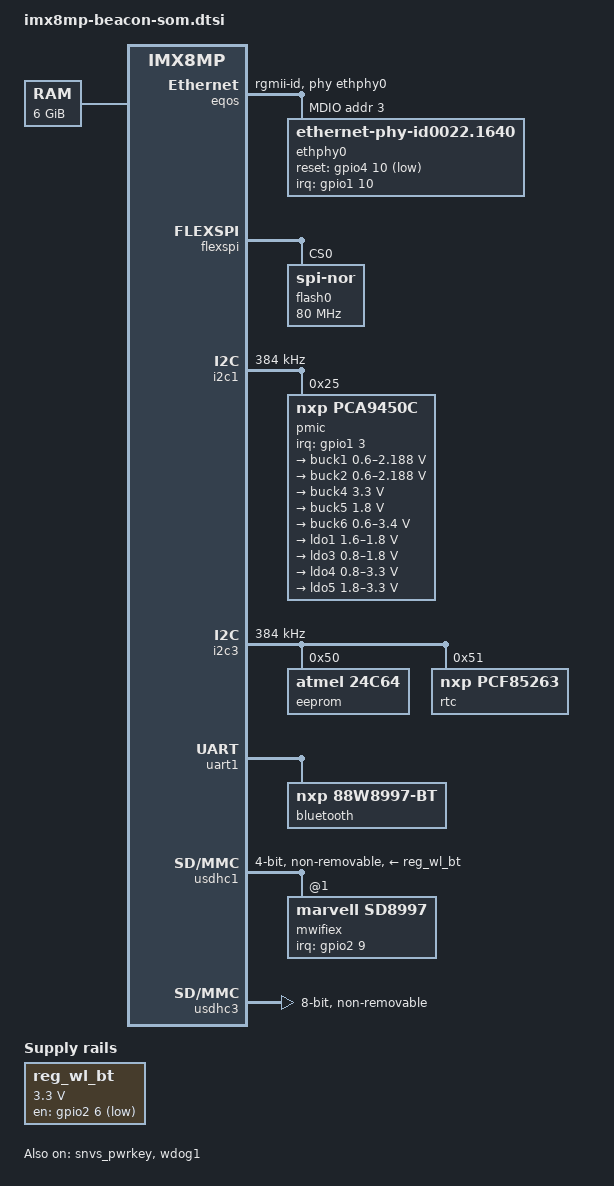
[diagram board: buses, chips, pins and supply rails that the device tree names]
// SPDX-License-Identifier: (GPL-2.0+ OR MIT)
/*
 * Copyright 2023 LogicPD, Inc. dba Beacon EmbeddedWorks
 */

/ {
	aliases {
		rtc0 = &rtc;
		rtc1 = &snvs_rtc;
	};

	memory@40000000 {
		device_type = "memory";
		reg = <0x0 0x40000000 0 0xc0000000>,
		      <0x1 0x00000000 0 0xc0000000>;
	};

	reg_wl_bt: regulator-wifi-bt {
		compatible = "regulator-fixed";
		pinctrl-names = "default";
		pinctrl-0 = <&pinctrl_reg_wl_bt>;
		regulator-name = "wl-bt-pow-dwn";
		regulator-min-microvolt = <3300000>;
		regulator-max-microvolt = <3300000>;
		gpio = <&gpio2 6 GPIO_ACTIVE_LOW>;
		startup-delay-us = <70000>;
		regulator-always-on;
	};
};

&A53_0 {
	cpu-supply = <&buck2>;
};

&A53_1 {
	cpu-supply = <&buck2>;
};

&A53_2 {
	cpu-supply = <&buck2>;
};

&A53_3 {
	cpu-supply = <&buck2>;
};

&eqos {
	pinctrl-names = "default";
	pinctrl-0 = <&pinctrl_eqos>;
	phy-mode = "rgmii-id";
	phy-handle = <&ethphy0>;
	snps,force_thresh_dma_mode;
	snps,mtl-rx-config = <&mtl_rx_setup>;
	snps,mtl-tx-config = <&mtl_tx_setup>;
	status = "okay";

	mdio {
		compatible = "snps,dwmac-mdio";
		#address-cells = <1>;
		#size-cells = <0>;

		ethphy0: ethernet-phy@3 {
			compatible = "ethernet-phy-id0022.1640",
				     "ethernet-phy-ieee802.3-c22";
			reg = <3>;
			reset-gpios = <&gpio4 10 GPIO_ACTIVE_LOW>;
			interrupt-parent = <&gpio1>;
			interrupts = <10 IRQ_TYPE_LEVEL_LOW>;
		};
	};

	mtl_rx_setup: rx-queues-config {
		snps,rx-queues-to-use = <5>;

		queue0 {
			snps,dcb-algorithm;
			snps,priority = <0x1>;
			snps,map-to-dma-channel = <0>;
		};

		queue1 {
			snps,dcb-algorithm;
			snps,priority = <0x2>;
			snps,map-to-dma-channel = <1>;
		};

		queue2 {
			snps,dcb-algorithm;
			snps,priority = <0x4>;
			snps,map-to-dma-channel = <2>;
		};

		queue3 {
			snps,dcb-algorithm;
			snps,priority = <0x8>;
			snps,map-to-dma-channel = <3>;
		};

		queue4 {
			snps,dcb-algorithm;
			snps,priority = <0xf0>;
			snps,map-to-dma-channel = <4>;
		};
	};

	mtl_tx_setup: tx-queues-config {
		snps,tx-queues-to-use = <5>;

		queue0 {
			snps,dcb-algorithm;
			snps,priority = <0x1>;
		};

		queue1 {
			snps,dcb-algorithm;
			snps,priority = <0x2>;
		};

		queue2 {
			snps,dcb-algorithm;
			snps,priority = <0x4>;
		};

		queue3 {
			snps,dcb-algorithm;
			snps,priority = <0x8>;
		};

		queue4 {
			snps,dcb-algorithm;
			snps,priority = <0xf0>;
		};
	};
};

&flexspi {
	pinctrl-names = "default";
	pinctrl-0 = <&pinctrl_flexspi0>;
	status = "okay";

	flash0: flash@0 {
		compatible = "jedec,spi-nor";
		reg = <0>;
		spi-max-frequency = <80000000>;
		spi-tx-bus-width = <1>;
		spi-rx-bus-width = <4>;
	};
};

&i2c1 {
	pinctrl-names = "default";
	pinctrl-0 = <&pinctrl_i2c1>;
	clock-frequency = <384000>;
	status = "okay";

	pmic@25 {
		compatible = "nxp,pca9450c";
		reg = <0x25>;
		pinctrl-names = "default";
		pinctrl-0 = <&pinctrl_pmic>;
		interrupt-parent = <&gpio1>;
		interrupts = <3 IRQ_TYPE_LEVEL_LOW>;

		regulators {
			buck1: BUCK1 {
				regulator-name = "BUCK1";
				regulator-min-microvolt = <600000>;
				regulator-max-microvolt = <2187500>;
				regulator-boot-on;
				regulator-always-on;
				regulator-ramp-delay = <3125>;
			};

			buck2: BUCK2 {
				regulator-name = "BUCK2";
				regulator-min-microvolt = <600000>;
				regulator-max-microvolt = <2187500>;
				regulator-boot-on;
				regulator-always-on;
				regulator-ramp-delay = <3125>;
				nxp,dvs-run-voltage = <950000>;
				nxp,dvs-standby-voltage = <850000>;
			};

			buck4: BUCK4 {
				regulator-name = "BUCK4";
				regulator-min-microvolt = <3300000>;
				regulator-max-microvolt = <3300000>;
				regulator-boot-on;
				regulator-always-on;
			};

			buck5: BUCK5 {
				regulator-name = "BUCK5";
				regulator-min-microvolt = <1800000>;
				regulator-max-microvolt = <1800000>;
				regulator-boot-on;
				regulator-always-on;
			};

			buck6: BUCK6 {
				regulator-name = "BUCK6";
				regulator-min-microvolt = <600000>;
				regulator-max-microvolt = <3400000>;
				regulator-boot-on;
				regulator-always-on;
			};

			ldo1: LDO1 {
				regulator-name = "LDO1";
				regulator-min-microvolt = <1600000>;
				regulator-max-microvolt = <1800000>;
				regulator-boot-on;
				regulator-always-on;
			};

			ldo3: LDO3 {
				regulator-name = "LDO3";
				regulator-min-microvolt = <800000>;
				regulator-max-microvolt = <1800000>;
				regulator-boot-on;
				regulator-always-on;
			};

			ldo4: LDO4 {
				regulator-name = "LDO4";
				regulator-min-microvolt = <800000>;
				regulator-max-microvolt = <3300000>;
				regulator-boot-on;
				regulator-always-on;
			};

			ldo5: LDO5 {
				regulator-name = "LDO5";
				regulator-min-microvolt = <1800000>;
				regulator-max-microvolt = <3300000>;
				regulator-boot-on;
				regulator-always-on;
			};
		};
	};
};

&i2c3 {
	pinctrl-names = "default";
	pinctrl-0 = <&pinctrl_i2c3>;
	clock-frequency = <384000>;
	status = "okay";

	eeprom@50 {
		compatible = "atmel,24c64";
		reg = <0x50>;
		pagesize = <32>;
		read-only;	/* Manufacturing EEPROM programmed at factory */
	};

	rtc: rtc@51 {
		compatible = "nxp,pcf85263";
		reg = <0x51>;
	};
};

&snvs_pwrkey {
	status = "okay";
};

&uart1 {
	pinctrl-names = "default";
	pinctrl-0 = <&pinctrl_uart1>;
	assigned-clocks = <&clk IMX8MP_CLK_UART1>;
	assigned-clock-parents = <&clk IMX8MP_SYS_PLL1_80M>;
	uart-has-rtscts;
	status = "okay";

	bluetooth {
		compatible = "nxp,88w8997-bt";
	};
};

&usdhc1 {
	pinctrl-names = "default", "state_100mhz", "state_200mhz";
	pinctrl-0 = <&pinctrl_usdhc1>;
	pinctrl-1 = <&pinctrl_usdhc1_100mhz>;
	pinctrl-2 = <&pinctrl_usdhc1_200mhz>;
	bus-width = <4>;
	vmmc-supply = <&reg_wl_bt>;
	cap-sd-highspeed;
	sd-uhs-sdr50;
	sd-uhs-sdr104;
	keep-power-in-suspend;
	wakeup-source;
	non-removable;
	cap-power-off-card;
	#address-cells = <1>;
	#size-cells = <0>;
	status = "okay";

	mwifiex: wifi@1 {
		compatible = "marvell,sd8997";
		reg = <1>;
		pinctrl-names = "default";
		pinctrl-0 = <&pinctrl_wlan>;
		interrupt-parent = <&gpio2>;
		interrupts = <9 IRQ_TYPE_LEVEL_LOW>;
	};
};

&usdhc3 {
	pinctrl-names = "default", "state_100mhz", "state_200mhz";
	pinctrl-0 = <&pinctrl_usdhc3>;
	pinctrl-1 = <&pinctrl_usdhc3_100mhz>;
	pinctrl-2 = <&pinctrl_usdhc3_200mhz>;
	bus-width = <8>;
	non-removable;
	status = "okay";
};

&wdog1 {
	pinctrl-names = "default";
	pinctrl-0 = <&pinctrl_wdog>;
	fsl,ext-reset-output;
	status = "okay";
};

&iomuxc {
	pinctrl_eqos: eqosgrp {
		fsl,pins = <
			MX8MP_IOMUXC_ENET_MDC__ENET_QOS_MDC		0x2
			MX8MP_IOMUXC_ENET_MDIO__ENET_QOS_MDIO		0x2
			MX8MP_IOMUXC_ENET_RD0__ENET_QOS_RGMII_RD0	0x90
			MX8MP_IOMUXC_ENET_RD1__ENET_QOS_RGMII_RD1	0x90
			MX8MP_IOMUXC_ENET_RD2__ENET_QOS_RGMII_RD2	0x90
			MX8MP_IOMUXC_ENET_RD3__ENET_QOS_RGMII_RD3	0x90
			MX8MP_IOMUXC_ENET_RXC__CCM_ENET_QOS_CLOCK_GENERATE_RX_CLK	0x90
			MX8MP_IOMUXC_ENET_RX_CTL__ENET_QOS_RGMII_RX_CTL	0x90
			MX8MP_IOMUXC_ENET_TD0__ENET_QOS_RGMII_TD0	0x16
			MX8MP_IOMUXC_ENET_TD1__ENET_QOS_RGMII_TD1	0x16
			MX8MP_IOMUXC_ENET_TD2__ENET_QOS_RGMII_TD2	0x16
			MX8MP_IOMUXC_ENET_TD3__ENET_QOS_RGMII_TD3	0x16
			MX8MP_IOMUXC_ENET_TX_CTL__ENET_QOS_RGMII_TX_CTL	0x16
			MX8MP_IOMUXC_ENET_TXC__CCM_ENET_QOS_CLOCK_GENERATE_TX_CLK	0x16
			MX8MP_IOMUXC_SAI2_RXC__GPIO4_IO22		0x10
			MX8MP_IOMUXC_GPIO1_IO10__GPIO1_IO10	0x10
		>;
	};

	pinctrl_flexspi0: flexspi0grp {
		fsl,pins = <
			MX8MP_IOMUXC_NAND_ALE__FLEXSPI_A_SCLK           0x1c2
			MX8MP_IOMUXC_NAND_CE0_B__FLEXSPI_A_SS0_B        0x82
			MX8MP_IOMUXC_NAND_DATA00__FLEXSPI_A_DATA00      0x82
			MX8MP_IOMUXC_NAND_DATA01__FLEXSPI_A_DATA01      0x82
			MX8MP_IOMUXC_NAND_DATA02__FLEXSPI_A_DATA02      0x82
			MX8MP_IOMUXC_NAND_DATA03__FLEXSPI_A_DATA03      0x82
		>;
	};

	pinctrl_i2c1: i2c1grp {
		fsl,pins = <
			MX8MP_IOMUXC_I2C1_SCL__I2C1_SCL		0x400001c2
			MX8MP_IOMUXC_I2C1_SDA__I2C1_SDA		0x400001c2
		>;
	};

	pinctrl_i2c3: i2c3grp {
		fsl,pins = <
			MX8MP_IOMUXC_I2C3_SCL__I2C3_SCL		0x400001c2
			MX8MP_IOMUXC_I2C3_SDA__I2C3_SDA		0x400001c2
		>;
	};

	pinctrl_pmic: pmicgrp {
		fsl,pins = <
			MX8MP_IOMUXC_GPIO1_IO03__GPIO1_IO03	0x1c0
		>;
	};

	pinctrl_reg_wl_bt: reg-wl-btgrp {
		fsl,pins = <
			MX8MP_IOMUXC_SD1_DATA4__GPIO2_IO06	0x40
		>;
	};

	pinctrl_uart1: uart1grp {
		fsl,pins = <
			MX8MP_IOMUXC_UART1_RXD__UART1_DCE_RX	0x140
			MX8MP_IOMUXC_UART1_TXD__UART1_DCE_TX	0x140
			MX8MP_IOMUXC_UART3_RXD__UART1_DCE_CTS	0x140
			MX8MP_IOMUXC_UART3_TXD__UART1_DCE_RTS	0x140
		>;
	};

	pinctrl_usdhc1: usdhc1grp {
		fsl,pins = <
			MX8MP_IOMUXC_SD1_CLK__USDHC1_CLK	0x190
			MX8MP_IOMUXC_SD1_CMD__USDHC1_CMD	0x1d0
			MX8MP_IOMUXC_SD1_DATA0__USDHC1_DATA0	0x1d0
			MX8MP_IOMUXC_SD1_DATA1__USDHC1_DATA1	0x1d0
			MX8MP_IOMUXC_SD1_DATA2__USDHC1_DATA2	0x1d0
			MX8MP_IOMUXC_SD1_DATA3__USDHC1_DATA3	0x1d0
		>;
	};

	pinctrl_usdhc1_100mhz: usdhc1-100mhzgrp {
		fsl,pins = <
			MX8MP_IOMUXC_SD1_CLK__USDHC1_CLK	0x194
			MX8MP_IOMUXC_SD1_CMD__USDHC1_CMD	0x1d4
			MX8MP_IOMUXC_SD1_DATA0__USDHC1_DATA0	0x1d4
			MX8MP_IOMUXC_SD1_DATA1__USDHC1_DATA1	0x1d4
			MX8MP_IOMUXC_SD1_DATA2__USDHC1_DATA2	0x1d4
			MX8MP_IOMUXC_SD1_DATA3__USDHC1_DATA3	0x1d4
		>;
	};

	pinctrl_usdhc1_200mhz: usdhc1-200mhzgrp {
		fsl,pins = <
			MX8MP_IOMUXC_SD1_CLK__USDHC1_CLK	0x196
			MX8MP_IOMUXC_SD1_CMD__USDHC1_CMD	0x1d6
			MX8MP_IOMUXC_SD1_DATA0__USDHC1_DATA0	0x1d6
			MX8MP_IOMUXC_SD1_DATA1__USDHC1_DATA1	0x1d6
			MX8MP_IOMUXC_SD1_DATA2__USDHC1_DATA2	0x1d6
			MX8MP_IOMUXC_SD1_DATA3__USDHC1_DATA3	0x1d6
		>;
	};

	pinctrl_usdhc3: usdhc3grp {
		fsl,pins = <
			MX8MP_IOMUXC_NAND_WE_B__USDHC3_CLK	0x190
			MX8MP_IOMUXC_NAND_WP_B__USDHC3_CMD	0x1d0
			MX8MP_IOMUXC_NAND_DATA04__USDHC3_DATA0	0x1d0
			MX8MP_IOMUXC_NAND_DATA05__USDHC3_DATA1	0x1d0
			MX8MP_IOMUXC_NAND_DATA06__USDHC3_DATA2	0x1d0
			MX8MP_IOMUXC_NAND_DATA07__USDHC3_DATA3	0x1d0
			MX8MP_IOMUXC_NAND_RE_B__USDHC3_DATA4	0x1d0
			MX8MP_IOMUXC_NAND_CE2_B__USDHC3_DATA5	0x1d0
			MX8MP_IOMUXC_NAND_CE3_B__USDHC3_DATA6	0x1d0
			MX8MP_IOMUXC_NAND_CLE__USDHC3_DATA7	0x1d0
			MX8MP_IOMUXC_NAND_CE1_B__USDHC3_STROBE	0x190
		>;
	};

	pinctrl_usdhc3_100mhz: usdhc3-100mhzgrp {
		fsl,pins = <
			MX8MP_IOMUXC_NAND_WE_B__USDHC3_CLK	0x194
			MX8MP_IOMUXC_NAND_WP_B__USDHC3_CMD	0x1d4
			MX8MP_IOMUXC_NAND_DATA04__USDHC3_DATA0	0x1d4
			MX8MP_IOMUXC_NAND_DATA05__USDHC3_DATA1	0x1d4
			MX8MP_IOMUXC_NAND_DATA06__USDHC3_DATA2	0x1d4
			MX8MP_IOMUXC_NAND_DATA07__USDHC3_DATA3	0x1d4
			MX8MP_IOMUXC_NAND_RE_B__USDHC3_DATA4	0x1d4
			MX8MP_IOMUXC_NAND_CE2_B__USDHC3_DATA5	0x1d4
			MX8MP_IOMUXC_NAND_CE3_B__USDHC3_DATA6	0x1d4
			MX8MP_IOMUXC_NAND_CLE__USDHC3_DATA7	0x1d4
			MX8MP_IOMUXC_NAND_CE1_B__USDHC3_STROBE	0x194
		>;
	};

	pinctrl_usdhc3_200mhz: usdhc3-200mhzgrp {
		fsl,pins = <
			MX8MP_IOMUXC_NAND_WE_B__USDHC3_CLK	0x196
			MX8MP_IOMUXC_NAND_WP_B__USDHC3_CMD	0x1d6
			MX8MP_IOMUXC_NAND_DATA04__USDHC3_DATA0	0x1d6
			MX8MP_IOMUXC_NAND_DATA05__USDHC3_DATA1	0x1d6
			MX8MP_IOMUXC_NAND_DATA06__USDHC3_DATA2	0x1d6
			MX8MP_IOMUXC_NAND_DATA07__USDHC3_DATA3	0x1d6
			MX8MP_IOMUXC_NAND_RE_B__USDHC3_DATA4	0x1d6
			MX8MP_IOMUXC_NAND_CE2_B__USDHC3_DATA5	0x1d6
			MX8MP_IOMUXC_NAND_CE3_B__USDHC3_DATA6	0x1d6
			MX8MP_IOMUXC_NAND_CLE__USDHC3_DATA7	0x1d6
			MX8MP_IOMUXC_NAND_CE1_B__USDHC3_STROBE	0x196
		>;
	};

	pinctrl_wdog: wdoggrp {
		fsl,pins = <
			MX8MP_IOMUXC_GPIO1_IO02__WDOG1_WDOG_B	0x166
		>;
	};

	pinctrl_wlan: wlangrp {
		fsl,pins = <
			MX8MP_IOMUXC_SD1_DATA7__GPIO2_IO09		0x140
		>;
	};
};
